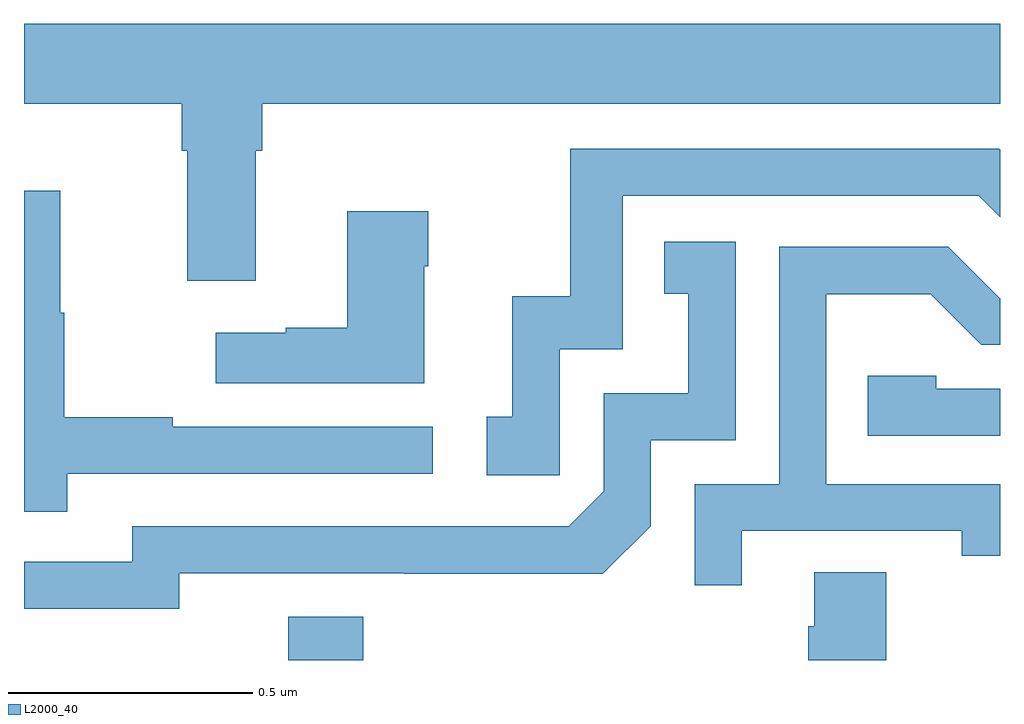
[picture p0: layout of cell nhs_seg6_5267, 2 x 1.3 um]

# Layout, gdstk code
import gdstk
lib = gdstk.Library(unit=1e-6, precision=1e-09)
def R(c, l, rs):  # rectangles x0, y0, x1, y1
    for r in rs: c.add(gdstk.rectangle(r[:2], r[2:], *l))
def P(c, l, *ps):  # polygons
    for p in ps: c.add(gdstk.Polygon(p, *l))
L2000_40 = (2000, 40)

nhs_seg6_5267 = lib.new_cell('nhs_seg6_5267')
R(nhs_seg6_5267, L2000_40, [(180.542,975.5,180.695,975.589)])
P(nhs_seg6_5267, L2000_40, [(180.475,976.544),(180.488,976.544),(180.488,976.64),(182,976.64),(182,976.804),(180,976.804),(180,976.64),(180.323,976.64),(180.323,976.544),(180.335,976.544),(180.335,976.278),(180.475,976.278)],
  [(181.098,976.137),(181.227,976.137),(181.227,976.452),(181.956,976.452),(182,976.408),(182,976.546),(181.998,976.548),(181.119,976.548),(181.119,976.246),(181.001,976.246),(181.001,975.999),(180.948,975.999),(180.948,975.879),(181.098,975.879)],
  [(180.089,975.882),(180.838,975.882),(180.838,975.978),(180.305,975.978),(180.305,975.998),(180.082,975.998),(180.082,976.212),(180.074,976.212),(180.074,976.462),(180,976.462),(180,975.804),(180.089,975.804)],
  [(180.82,976.307),(180.828,976.307),(180.828,976.42),(180.662,976.42),(180.662,976.181),(180.536,976.181),(180.536,976.171),(180.393,976.171),(180.393,976.067),(180.82,976.067)],
  [(180.318,975.678),(180.778,975.678),(180.778,975.677),(181.186,975.677),(181.284,975.774),(181.284,975.951),(181.458,975.951),(181.458,976.357),(181.312,976.357),(181.312,976.251),(181.361,976.251),(181.361,976.047),(181.188,976.047),(181.188,975.846),(181.116,975.774),(180.222,975.774),(180.222,975.702),(180,975.702),(180,975.605),(180.318,975.605)],
  [(181.471,975.765),(181.922,975.765),(181.922,975.714),(182,975.714),(182,975.861),(181.644,975.861),(181.644,976.25),(181.858,976.25),(181.962,976.146),(182,976.146),(182,976.242),(181.999,976.242),(181.894,976.347),(181.548,976.347),(181.548,975.861),(181.374,975.861),(181.374,975.654),(181.471,975.654)],
  [(182,976.056),(181.869,976.056),(181.869,976.083),(181.729,976.083),(181.729,975.96),(182,975.96)],
  [(181.767,975.68),(181.619,975.68),(181.619,975.57),(181.607,975.57),(181.607,975.5),(181.767,975.5)])

lib.write_gds('nhs_seg6_5267.gds')
